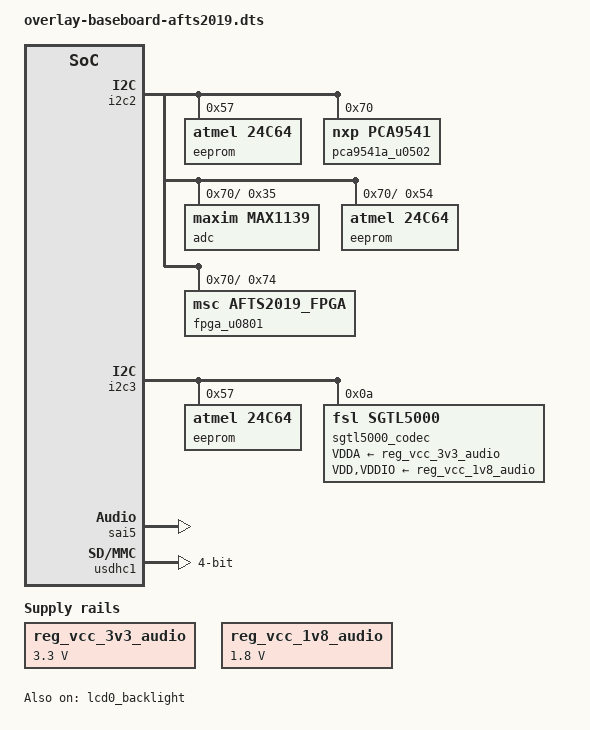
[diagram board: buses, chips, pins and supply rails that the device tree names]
/*
 * Copyright (C) 2023 Avnet Embedded GmbH
 *
 * This program is free software; you can redistribute it and/or
 * modify it under the terms of the GNU General Public License as
 * published by the Free Software Foundation version 2.
 *
 * This program is distributed "as is" WITHOUT ANY WARRANTY of any
 * kind, whether express or implied; without even the implied warranty
 * of MERCHANTABILITY or FITNESS FOR A PARTICULAR PURPOSE.  See the
 * GNU General Public License for more details.
 */

/dts-v1/;
/plugin/;

#include <dt-bindings/clock/imx8mm-clock.h>
#include <dt-bindings/gpio/gpio.h>
#include "OSM-Adapter-afts2019.dtsi"

/ {
	fragment@1100 {
		target-path = "/";
		__overlay__ {
			user_gpios {
				GPIO_C4-ignore;
			};
		};
	};
	fragment@1101 {
		target = <&lcd0_backlight>;
		__overlay__ {
			status = "okay";
		};
	};

	fragment@1102 {
		target = <&i2c2>;
		__overlay__ {
			#address-cells = <1>;
			#size-cells = <0>;
			dsi_lvds_bridge: sn65dsi84@2d {
				compatible = "ti,sn65dsi83";
				reg = <0x2d>;
				enable-panel-gpios = <&gpio1 1 GPIO_ACTIVE_HIGH>; /* GPIO_C4*/
				backlight = <&lcd0_backlight>;
				status = "disabled";
			};
		};
	};

	fragment@1103 {
		target = <&ecspi1>;
		__overlay__ {
			spi-max-frequency = <20000000>;
		};
	};

	fragment@1104 {
		target = <&ecspi2>;
		__overlay__ {
			spi-max-frequency = <20000000>;
		};
	};

	fragment@1105 {
		target = <&spidev1_0>;
		__overlay__ {
			compatible = "jedec,spi-nor";
			spi-max-frequency = <20000000>;
		};
	};

	fragment@1106 {
		target = <&spidev2_0>;
		__overlay__ {
			compatible = "jedec,spi-nor";
			spi-max-frequency = <20000000>;
		};
	};

	fragment@1107 {
		target = <&i2c2>;
		__overlay__ {
			#address-cells = <1>;
			#size-cells = <0>;
			eeprom@57 {
				compatible = "atmel,24c64";
				reg = <0x57>;
				pagesize = <32>;
			};
		};
	};

	fragment@1108 {
		target = <&i2c3>;
		__overlay__ {
			#address-cells = <1>;
			#size-cells = <0>;
			eeprom@57 {
				compatible = "atmel,24c64";
				reg = <0x57>;
				pagesize = <32>;
			};
		};
	};

	fragment@1109 {
		target-path = "/";
		__overlay__ {
			sgtl5000_sound: sgtl5000-sound {
				compatible = "fsl,imx-audio-sgtl5000";
				model = "imx-sgtl5000";
				audio-cpu = <&sai5>;
				audio-codec = <&sgtl5000_codec>;
				audio-routing =
						"LINE_IN", "Line In Jack",
						"MIC_IN", "Mic Jack",
						"Mic Jack", "Mic Bias",
						"Headphone Jack", "HP_OUT";
			};
		};
	};

	fragment@1110 {
		target-path = "/";
		__overlay__ {
			reg_vcc_3v3_audio: 3v3_audio_regulator {
				compatible = "regulator-fixed";
				regulator-name = "3V3_AUD";
				regulator-min-microvolt = <3300000>;
				regulator-max-microvolt = <3300000>;
			};
		};
	};

	fragment@1111 {
		target-path = "/";
		__overlay__ {
			reg_vcc_1v8_audio: 1v8_audio_regulator {
				compatible = "regulator-fixed";
				regulator-name = "1V8_AUD";
				regulator-min-microvolt = <1800000>;
				regulator-max-microvolt = <1800000>;
			};
		};
	};

	fragment@1113 {
		target = <&i2c2>; /* i2c_gp */
		__overlay__ {
			#address-cells = <1>;
			#size-cells = <0>;
			pca9541a_u0502@70 {
				compatible = "nxp,pca9541";
				reg = <0x70>; /* S0503 must be set all to on */

				i2c_arb: i2c-arb {
					#address-cells = <1>;
					#size-cells = <0>;

					adc@35 {
						compatible = "maxim,max1139";
						reg = <0x35>;
					};

					eeprom@54 {
						compatible = "atmel,24c64";
						reg = <0x54>;
					};

					fpga_u0801@74 {
						compatible = "msc,afts2019_fpga";
						reg = <0x74>;
					};
				};
			};
		};
	};

	fragment@1114 {
		target-path = "/";
		__overlay__ {
			i2c_ids {
				i2c_thw {
					label = "thw";
					bus = <&i2c_arb>;
				};
			};
		};
	};

	fragment@1115 {
		target = <&i2c3>;
		__overlay__ {
			#address-cells = <1>;
			#size-cells = <0>;
			sgtl5000_codec: sgtl5000@a {
				compatible = "fsl,sgtl5000";
				reg = <0x0a>;
				clocks = <&clk IMX8MM_CLK_CLKOUT1>;
				clock-names = "mclk";
				assigned-clocks = <&clk IMX8MM_CLK_CLKOUT1_SEL>;
				assigned-clock-parents = <&clk IMX8MM_CLK_24M>;
				assigned-clock-rates = <24000000>;
				VDDA-supply = <&reg_vcc_3v3_audio>;
				VDD-supply = <&reg_vcc_1v8_audio>;
				VDDIO-supply = <&reg_vcc_1v8_audio>;
			};
		};
	};

	fragment@1116 {
		target = <&sai5>;
		__overlay__ {
			status = "okay";
		};
	};

	fragment@1117 {
		target = <&usdhc1>;
		__overlay__ {
			  bus-width = <4>;
		};
	};
};
